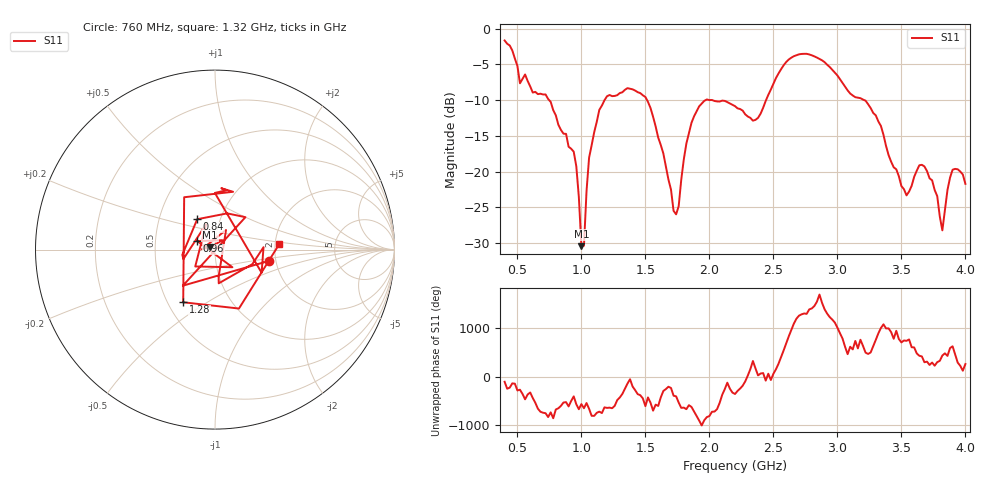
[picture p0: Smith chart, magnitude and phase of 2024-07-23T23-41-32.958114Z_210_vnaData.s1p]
!Created with skrf (http://scikit-rf.org).
# Hz S RI R 50.0
!freq ReS11 ImS11
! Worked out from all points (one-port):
!   181 points, 400 MHz to 4 GHz, reference 50 ohm
!   lowest |S11| = -30.4 dB at 1 GHz (marker M1), VSWR 1.06, Z = 47.3 + j1.14 ohm
!   |S11| at or under -10 dB: 748.3 MHz to 1.181 GHz (432.4 MHz wide, 44.8 % of centre); 1.513 GHz to 1.97 GHz (456.8 MHz wide, 26.2 % of centre); 3.211 GHz to end of sweep (the widest 3 of 4)
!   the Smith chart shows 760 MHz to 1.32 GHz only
!   S11 on the Smith chart (normalised r, x): 760 MHz: 1.84, -0.26; 840 MHz: 0.78, +0.27; 960 MHz: 0.82, +0.08; 1.28 GHz: 0.60, -0.40; 1.32 GHz: 2.11, +0.15
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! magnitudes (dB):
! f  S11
! 400 MHz  -1.7
! 520 MHz  -7.6
! 760 MHz  -10.2
! 840 MHz  -14.2
! 860 MHz  -14.7
! 960 MHz  -19.2
! 1 GHz  -30.4
! 1.02 GHz  -30.3
! 1.06 GHz  -18.0
! 1.14 GHz  -11.3
! 1.28 GHz  -9.3
! 1.3 GHz  -9.0
! 1.32 GHz  -8.9
! 1.52 GHz  -10.2
! 1.72 GHz  -25.5
! 1.76 GHz  -24.8
! 1.82 GHz  -16.1
! 1.92 GHz  -10.9
! 2.2 GHz  -10.8
! 2.38 GHz  -12.5
! 2.66 GHz  -3.8
! 3.1 GHz  -9.1
! 3.3 GHz  -12.1
! 3.56 GHz  -22.8
! 3.68 GHz  -19.3
! 3.82 GHz  -28.2
! 3.9 GHz  -19.7
! 4 GHz  -21.7
